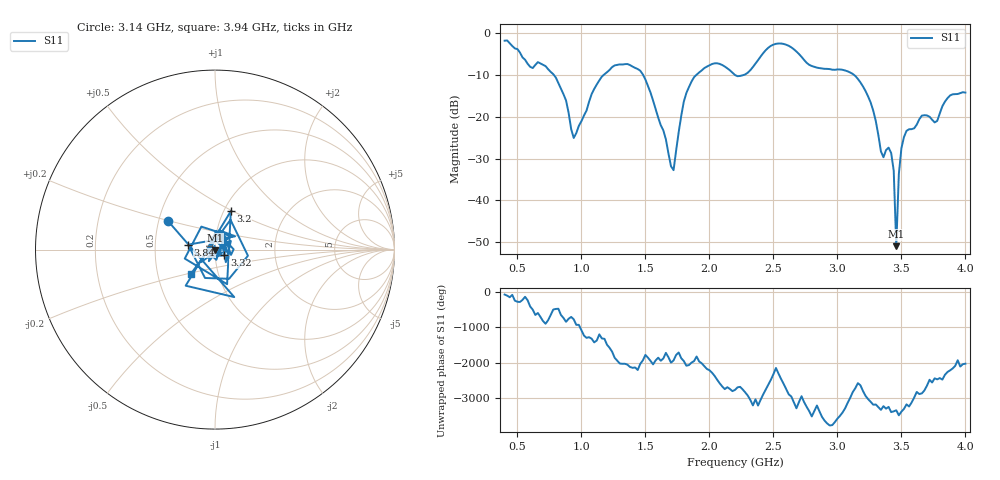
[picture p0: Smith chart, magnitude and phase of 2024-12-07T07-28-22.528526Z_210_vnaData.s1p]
!Created with skrf (http://scikit-rf.org).
# Hz S RI R 50.0
!freq ReS11 ImS11
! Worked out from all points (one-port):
!   181 points, 400 MHz to 4 GHz, reference 50 ohm
!   lowest |S11| = -51.0 dB at 3.46 GHz (marker M1), VSWR 1.01, Z = 49.9 - j0.241 ohm
!   |S11| at or under -10 dB: 786.2 MHz to 1.172 GHz (385.6 MHz wide, 39.4 % of centre); 1.483 GHz to 1.896 GHz (412.8 MHz wide, 24.4 % of centre); 3.132 GHz to end of sweep (the widest 3 of 4)
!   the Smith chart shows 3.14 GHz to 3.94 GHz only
!   S11 on the Smith chart (normalised r, x): 3.14 GHz: 0.56, +0.20; 3.2 GHz: 1.08, +0.49; 3.32 GHz: 1.11, -0.07; 3.84 GHz: 0.74, +0.04; 3.94 GHz: 0.74, -0.20
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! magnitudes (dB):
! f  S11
! 400 MHz  -1.7
! 860 MHz  -14.6
! 940 MHz  -25.0
! 1.14 GHz  -11.2
! 1.3 GHz  -7.4
! 1.48 GHz  -9.8
! 1.72 GHz  -32.7
! 1.76 GHz  -23.7
! 1.88 GHz  -10.5
! 2.04 GHz  -7.2
! 2.2 GHz  -10.0
! 2.5 GHz  -2.7
! 2.66 GHz  -3.8
! 3.1 GHz  -9.4
! 3.14 GHz  -10.2
! 3.2 GHz  -12.7
! 3.32 GHz  -24.3
! 3.36 GHz  -29.7
! 3.42 GHz  -28.6
! 3.44 GHz  -32.8
! 3.46 GHz  -51.0
! 3.48 GHz  -33.7
! 3.5 GHz  -27.5
! 3.56 GHz  -22.9
! 3.78 GHz  -20.9
! 3.84 GHz  -16.3
! 3.94 GHz  -14.5
! 4 GHz  -14.2
